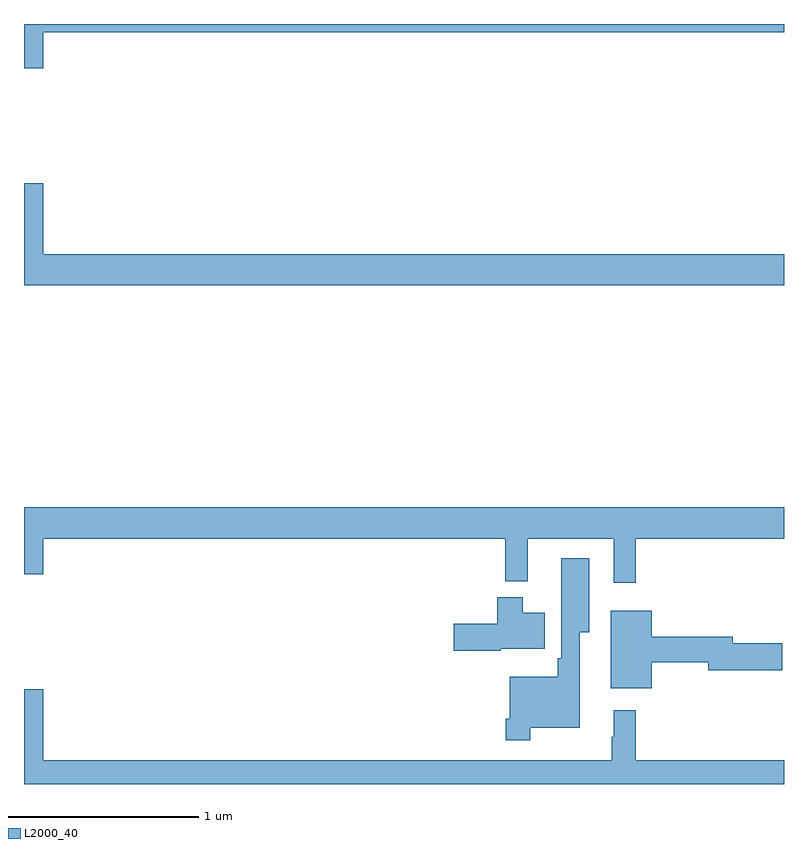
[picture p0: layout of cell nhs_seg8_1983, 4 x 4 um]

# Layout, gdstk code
import gdstk
lib = gdstk.Library(unit=1e-6, precision=1e-09)
def P(c, l, *ps):  # polygons
    for p in ps: c.add(gdstk.Polygon(p, *l))
L2000_40 = (2000, 40)

nhs_seg8_1983 = lib.new_cell('nhs_seg8_1983')
P(nhs_seg8_1983, L2000_40, [(237.1,1093.856),(241,1093.856),(241,1093.9),(237,1093.9),(237,1093.668),(237.1,1093.668)],
  [(241,1092.688),(237.1,1092.688),(237.1,1093.063),(237,1093.063),(237,1092.524),(241,1092.524)],
  [(240.221,1091.192),(241,1091.192),(241,1091.356),(237,1091.356),(237,1091.004),(237.1,1091.004),(237.1,1091.192),(239.533,1091.192),(239.533,1090.967),(239.65,1090.967),(239.65,1091.192),(240.104,1091.192),(240.104,1090.959),(240.221,1090.959)],
  [(239.665,1090.196),(239.926,1090.196),(239.926,1090.7),(239.974,1090.7),(239.974,1091.089),(239.828,1091.089),(239.828,1090.561),(239.809,1090.561),(239.809,1090.465),(239.556,1090.465),(239.556,1090.243),(239.536,1090.243),(239.536,1090.131),(239.665,1090.131)],
  [(239.508,1090.613),(239.74,1090.613),(239.74,1090.801),(239.626,1090.801),(239.626,1090.882),(239.492,1090.882),(239.492,1090.743),(239.262,1090.743),(239.262,1090.601),(239.508,1090.601)],
  [(240.304,1090.54),(240.602,1090.54),(240.602,1090.498),(240.991,1090.498),(240.991,1090.64),(240.73,1090.64),(240.73,1090.676),(240.304,1090.676),(240.304,1090.813),(240.089,1090.813),(240.089,1090.403),(240.304,1090.403)],
  [(241,1090.024),(240.221,1090.024),(240.221,1090.288),(240.104,1090.288),(240.104,1090.148),(240.093,1090.148),(240.093,1090.024),(237.1,1090.024),(237.1,1090.399),(237,1090.399),(237,1089.9),(241,1089.9)])

lib.write_gds('nhs_seg8_1983.gds')
